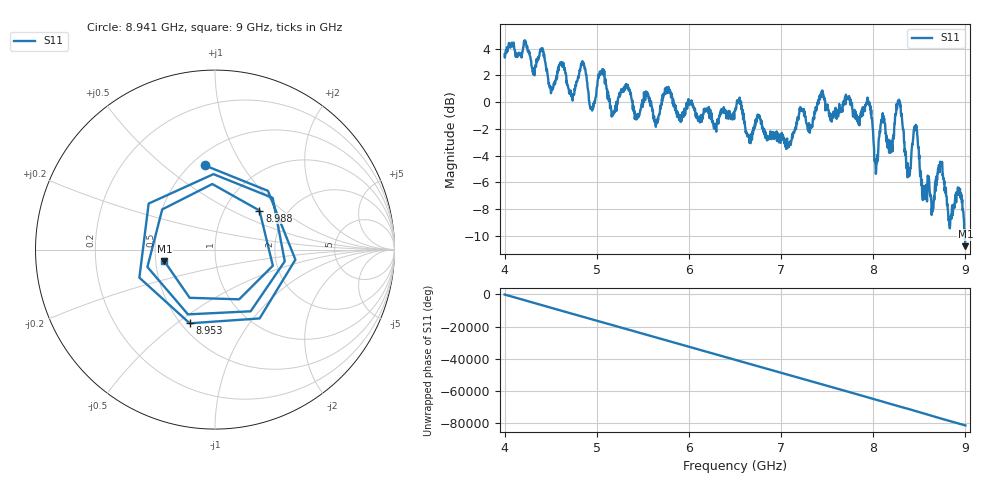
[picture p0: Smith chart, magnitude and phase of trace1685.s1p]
! Created with skrf 1.8.0 (http://scikit-rf.org).
# Hz S RI R 50.0
!freq ReS11 ImS11
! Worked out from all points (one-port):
!   1601 points, 4 GHz to 9 GHz, reference 50 ohm
!   lowest |S11| = -10.8 dB at 9 GHz (marker M1), VSWR 1.81, Z = 27.8 - j3.98 ohm
!   |S11| at or under -10 dB: 8.993042 GHz to end of sweep
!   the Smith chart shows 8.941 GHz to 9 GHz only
!   S11 on the Smith chart (normalised r, x): 8.941 GHz: 0.58, +0.70; 8.953 GHz: 0.55, -0.56; 8.988 GHz: 1.45, +0.71; 9 GHz: 0.56, -0.08
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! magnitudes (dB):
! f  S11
! 4 GHz  3.5
! 4.406 GHz  4.0
! 4.503 GHz  0.7
! 4.625 GHz  2.9
! 4.731 GHz  0.5
! 4.853 GHz  2.8
! 4.944 GHz  -0.5
! 5.056 GHz  2.3
! 5.169 GHz  -0.9
! 5.25 GHz  0.4
! 5.875 GHz  -0.7
! 6.5 GHz  -0.6
! 7.125 GHz  -2.4
! 7.438 GHz  0.8
! 7.75 GHz  -0.2
! 7.953 GHz  -0.2
! 8.031 GHz  -5.3
! 8.278 GHz  0.1
! 8.375 GHz  -4.6
! 8.456 GHz  -1.9
! 8.556 GHz  -7.1
! 8.641 GHz  -8.2
! 8.725 GHz  -4.5
! 8.825 GHz  -9.2
! 8.941 GHz  -6.5
! 8.953 GHz  -7.2
! 8.988 GHz  -9.6
! 9 GHz  -10.8
